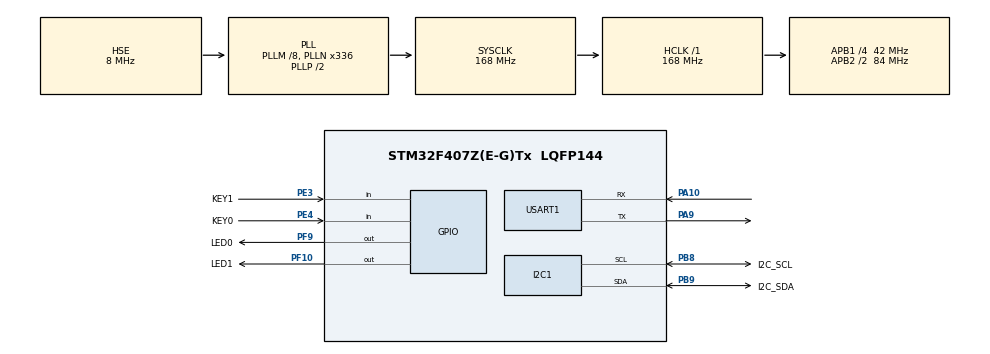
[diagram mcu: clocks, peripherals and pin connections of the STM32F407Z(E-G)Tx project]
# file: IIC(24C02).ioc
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Mcu.Family=STM32F4
Mcu.Name=STM32F407Z(E-G)Tx
Mcu.Package=LQFP144
NVIC.PriorityGroup=NVIC_PRIORITYGROUP_4
PA10.Mode=Asynchronous
PA10.Signal=USART1_RX
PA13.Mode=Serial_Wire
PA13.Signal=SYS_JTMS-SWDIO
PA14.Mode=Serial_Wire
PA14.Signal=SYS_JTCK-SWCLK
PA9.Mode=Asynchronous
PA9.Signal=USART1_TX
PB8.GPIO_Label=I2C_SCL
PB8.Mode=I2C
PB8.Signal=I2C1_SCL
PB9.GPIO_Label=I2C_SDA
PB9.Mode=I2C
PB9.Signal=I2C1_SDA
PE3.GPIO_Label=KEY1
PE3.GPIO_PuPd=GPIO_PULLUP
PE3.Signal=GPIO_Input
PE4.GPIO_Label=KEY0
PE4.GPIO_PuPd=GPIO_PULLUP
PE4.Signal=GPIO_Input
PF10.GPIO_Label=LED1
PF10.GPIO_PuPd=GPIO_PULLUP
PF10.GPIO_Speed=GPIO_SPEED_FREQ_HIGH
PF10.PinState=GPIO_PIN_SET
PF10.Signal=GPIO_Output
PF9.GPIO_Label=LED0
PF9.GPIO_PuPd=GPIO_PULLUP
PF9.GPIO_Speed=GPIO_SPEED_FREQ_HIGH
PF9.PinState=GPIO_PIN_SET
PF9.Signal=GPIO_Output
PH0-OSC_IN.Mode=HSE-External-Oscillator
PH0-OSC_IN.Signal=RCC_OSC_IN
PH1-OSC_OUT.Mode=HSE-External-Oscillator
PH1-OSC_OUT.Signal=RCC_OSC_OUT
ProjectManager.HeapSize=0x200
ProjectManager.StackSize=0x400
ProjectManager.TargetToolchain=MDK-ARM V5
RCC.48MHZClocksFreq_Value=84000000
RCC.AHBFreq_Value=168000000
RCC.APB1CLKDivider=RCC_HCLK_DIV4
RCC.APB1Freq_Value=42000000
RCC.APB1TimFreq_Value=84000000
RCC.APB2CLKDivider=RCC_HCLK_DIV2
RCC.APB2Freq_Value=84000000
RCC.APB2TimFreq_Value=168000000
RCC.CortexFreq_Value=168000000
RCC.HCLKFreq_Value=168000000
RCC.HSE_VALUE=8000000
RCC.HSI_VALUE=16000000
RCC.LSE_VALUE=32768
RCC.PLLM=8
RCC.PLLN=336
RCC.PLLSourceVirtual=RCC_PLLSOURCE_HSE
RCC.SYSCLKFreq_VALUE=168000000
RCC.SYSCLKSource=RCC_SYSCLKSOURCE_PLLCLK
RCC.VCOOutputFreq_Value=336000000
USART1.VirtualMode=VM_ASYNC
board=custom

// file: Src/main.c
/* USER CODE BEGIN Header */
/**
  ******************************************************************************
  * @file           : main.c
  * @brief          : Main program body
  ******************************************************************************
  * @attention
  *
  * <h2><center>&copy; Copyright (c) 2024 STMicroelectronics.
  * All rights reserved.</center></h2>
  *
  * This software component is licensed by ST under BSD 3-Clause license,
  * the "License"; You may not use this file except in compliance with the
  * License. You may obtain a copy of the License at:
  *                        opensource.org/licenses/BSD-3-Clause
  *
  ******************************************************************************
  */
/* USER CODE END Header */

#include "main.h"
#include "i2c.h"
#include "usart.h"
#include "gpio.h"

/* USER CODE BEGIN PV */
uint8_t W[] = "--Ready--";
#define TEXT_SIZE sizeof(W) /* TEXT字符串长度 */
uint8_t R[TEXT_SIZE] = {0};
/* USER CODE END PV */

void SystemClock_Config(void);

int main(void)
{

  /* MCU Configuration--------------------------------------------------------*/

  /* Reset of all peripherals, Initializes the Flash interface and the Systick. */
  HAL_Init();

  /* Configure the system clock */
  SystemClock_Config();

  /* Initialize all configured peripherals */
  MX_GPIO_Init();
  MX_I2C1_Init();
  MX_USART1_UART_Init();
  /* USER CODE BEGIN 2 */
	printf("I2C2 EEPROM test!\n");
  /* USER CODE END 2 */

  /* Infinite loop */
  /* USER CODE BEGIN WHILE */
  while (1)
  {
		/*获取KEY0引脚值*/
		if(HAL_GPIO_ReadPin(KEY0_GPIO_Port, KEY0_Pin) == GPIO_PIN_RESET){  /*GPIOx->IDR读取到0，说明低电平，按键按下*/
			HAL_Delay(10);  /*消抖*/
			if(HAL_GPIO_ReadPin(KEY0_GPIO_Port, KEY0_Pin) == GPIO_PIN_RESET){  /*再次判断按键是否按下*/
				Eeprom_Write(0, W, TEXT_SIZE);  //向EEPROM写数据
				printf("KEY0 Write: %s\n", W);
				while(HAL_GPIO_ReadPin(KEY0_GPIO_Port, KEY0_Pin) == GPIO_PIN_RESET);  /*直到按键松开，跳出循环*/
			}
		}
		/*获取KEY1引脚值*/
		if(HAL_GPIO_ReadPin(KEY1_GPIO_Port, KEY1_Pin) == GPIO_PIN_RESET){  /*GPIOx->IDR读取到0，说明低电平，按键按下*/
			HAL_Delay(10);  /*消抖*/
			if(HAL_GPIO_ReadPin(KEY1_GPIO_Port, KEY1_Pin) == GPIO_PIN_RESET){  /*再次判断按键是否按下*/
				Eeprom_Read(0, R, TEXT_SIZE);  //从EEPROM读数据
				printf("KEY1 Read: %s\n", R);
				while(HAL_GPIO_ReadPin(KEY1_GPIO_Port, KEY1_Pin) == GPIO_PIN_RESET);  /*直到按键松开，跳出循环*/
			}
		}
		HAL_GPIO_TogglePin(LED0_GPIO_Port, LED0_Pin);
		HAL_Delay(100);
    /* USER CODE END WHILE */

  }
}

void SystemClock_Config(void)
{
  RCC_OscInitTypeDef RCC_OscInitStruct = {0};
  RCC_ClkInitTypeDef RCC_ClkInitStruct = {0};

  /** Configure the main internal regulator output voltage
  */
  __HAL_RCC_PWR_CLK_ENABLE();
  __HAL_PWR_VOLTAGESCALING_CONFIG(PWR_REGULATOR_VOLTAGE_SCALE1);
  /** Initializes the CPU, AHB and APB busses clocks
  */
  RCC_OscInitStruct.OscillatorType = RCC_OSCILLATORTYPE_HSE;
  RCC_OscInitStruct.HSEState = RCC_HSE_ON;
  RCC_OscInitStruct.PLL.PLLState = RCC_PLL_ON;
  RCC_OscInitStruct.PLL.PLLSource = RCC_PLLSOURCE_HSE;
  RCC_OscInitStruct.PLL.PLLM = 8;
  RCC_OscInitStruct.PLL.PLLN = 336;
  RCC_OscInitStruct.PLL.PLLP = RCC_PLLP_DIV2;
  RCC_OscInitStruct.PLL.PLLQ = 4;
  if (HAL_RCC_OscConfig(&RCC_OscInitStruct) != HAL_OK)
  {
    Error_Handler();
  }
  /** Initializes the CPU, AHB and APB busses clocks
  */
  RCC_ClkInitStruct.ClockType = RCC_CLOCKTYPE_HCLK|RCC_CLOCKTYPE_SYSCLK
                              |RCC_CLOCKTYPE_PCLK1|RCC_CLOCKTYPE_PCLK2;
  RCC_ClkInitStruct.SYSCLKSource = RCC_SYSCLKSOURCE_PLLCLK;
  RCC_ClkInitStruct.AHBCLKDivider = RCC_SYSCLK_DIV1;
  RCC_ClkInitStruct.APB1CLKDivider = RCC_HCLK_DIV4;
  RCC_ClkInitStruct.APB2CLKDivider = RCC_HCLK_DIV2;

  if (HAL_RCC_ClockConfig(&RCC_ClkInitStruct, FLASH_LATENCY_5) != HAL_OK)
  {
    Error_Handler();
  }
}

void Error_Handler(void)
{
}

/************************ (C) COPYRIGHT STMicroelectronics *****END OF FILE****/
